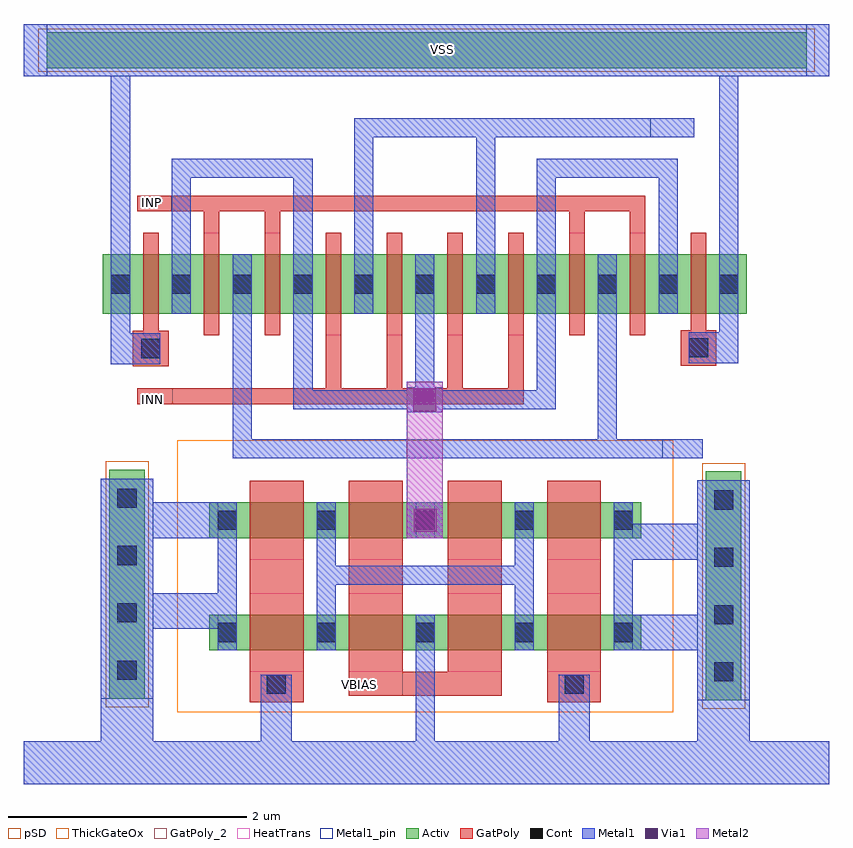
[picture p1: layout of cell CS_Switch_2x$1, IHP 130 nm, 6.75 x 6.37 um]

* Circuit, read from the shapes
.subckt CS_Switch_2x$1 INN INP VBIAS VSS
XM1 n1 VSS VSS VSUBS sg13_lv_nmos w=0.5u l=0.13u m=2
XM2 n2 INP n1 VSUBS sg13_lv_nmos w=0.5u l=0.13u m=4
XM3 n3 VSUBS VSUBS VSUBS sg13_hv_nmos w=0.3u l=0.45u m=4
XM4 n4 INN n1 VSUBS sg13_lv_nmos w=0.5u l=0.13u m=4
XM5 VSUBS VBIAS n3 VSUBS sg13_hv_nmos w=0.3u l=0.45u m=2
XM6 n1 VBIAS n3 VSUBS sg13_hv_nmos w=0.3u l=0.45u m=2
.ends

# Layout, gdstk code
import gdstk
lib = gdstk.Library(unit=1e-6, precision=1e-09)
def R(c, l, rs):  # rectangles x0, y0, x1, y1
    for r in rs: c.add(gdstk.rectangle(r[:2], r[2:], *l))
def A(c, l, x, y, w, h, nx, ny, dx, dy):  # array of equal rectangles
    R(c, l, [(x+i*dx, y+j*dy, x+i*dx+w, y+j*dy+h) for i in range(nx) for j in range(ny)])
def P(c, l, *ps):  # polygons
    for p in ps: c.add(gdstk.Polygon(p, *l))
Activ = (1, 0)
GatPoly = (5, 0)
GatPoly_2 = (5, 2)
Cont = (6, 0)
Metal1 = (8, 0)
Metal1_pin = (8, 2)
Metal2 = (10, 0)
pSD = (14, 0)
Via1 = (19, 0)
ThickGateOx = (44, 0)
HeatTrans = (51, 0)

nmoshv_1_3_1 = lib.new_cell('nmosHV$1$3$1')
A(nmoshv_1_3_1, Activ, 0, 0, 0.3, 0.3, 3, 1, 0.83, 0)
R(nmoshv_1_3_1, Activ, [(0,0,1.96,0.3)])
R(nmoshv_1_3_1, GatPoly, [(0.34,-0.18,0.79,0.48), (1.17,-0.18,1.62,0.48)])
R(nmoshv_1_3_1, GatPoly_2, [(0.34,-0.18,0.79,0.48)])
A(nmoshv_1_3_1, Cont, 0.07, 0.07, 0.16, 0.16, 3, 1, 0.83, 0)
A(nmoshv_1_3_1, Metal1, 0.07, 0, 0.16, 0.3, 3, 1, 0.83, 0)
R(nmoshv_1_3_1, Metal1_pin, [(0.07,0,0.23,0.3), (0.9,0,1.06,0.3)])
R(nmoshv_1_3_1, ThickGateOx, [(-0.27,-0.52,2.23,0.82)])
R(nmoshv_1_3_1, HeatTrans, [(0.34,-0.18,0.79,0.48), (1.17,-0.18,1.62,0.48)])
nmoshv_1_3_1.add(gdstk.Label('nmosHV', (0.565,0.15), layer=63, texttype=0))
nmoshv_1_3_1.add(gdstk.Label('nmosHV', (0.565,0.15), layer=51, texttype=0))
nmoshv_1_3_1.add(gdstk.Label('nmosHV', (1.395,0.15), layer=51, texttype=0))

via_stack_24 = lib.new_cell('via_stack$24')
R(via_stack_24, Metal1, [(-0.145,-0.105,0.145,0.105)])
R(via_stack_24, Metal2, [(-0.145,-0.1,0.145,0.1)])
R(via_stack_24, Via1, [(-0.095,-0.095,0.095,0.095)])

nmos_6_1 = lib.new_cell('nmos$6$1')
A(nmos_6_1, Activ, 0, 0, 0.3, 0.3, 3, 1, 0.51, 0)
R(nmos_6_1, Activ, [(0,0,1.32,0.5)])
R(nmos_6_1, GatPoly, [(0.34,-0.18,0.47,0.68), (0.85,-0.18,0.98,0.68)])
R(nmos_6_1, GatPoly_2, [(0.34,-0.18,0.47,0.68)])
A(nmos_6_1, Cont, 0.07, 0.17, 0.16, 0.16, 3, 1, 0.51, 0)
A(nmos_6_1, Metal1, 0.07, 0, 0.16, 0.5, 3, 1, 0.51, 0)
R(nmos_6_1, Metal1_pin, [(0.07,0,0.23,0.5), (0.58,0,0.74,0.5)])
R(nmos_6_1, HeatTrans, [(0.34,-0.18,0.47,0.68), (0.85,-0.18,0.98,0.68)])
nmos_6_1.add(gdstk.Label('nmos', (0.405,0.25), layer=63, texttype=0))
nmos_6_1.add(gdstk.Label('nmos', (0.405,0.25), layer=51, texttype=0))
nmos_6_1.add(gdstk.Label('nmos', (0.915,0.25), layer=51, texttype=0))

nmoshv_2_2 = lib.new_cell('nmosHV$2$2')
R(nmoshv_2_2, Activ, [(0,0,0.3,0.3), (0,0,1.13,0.3), (0.83,0,1.13,0.3)])
R(nmoshv_2_2, GatPoly, [(0.34,-0.18,0.79,0.48)])
R(nmoshv_2_2, GatPoly_2, [(0.34,-0.18,0.79,0.48)])
R(nmoshv_2_2, Cont, [(0.07,0.07,0.23,0.23), (0.9,0.07,1.06,0.23)])
R(nmoshv_2_2, Metal1, [(0.07,0,0.23,0.3), (0.9,0,1.06,0.3)])
R(nmoshv_2_2, Metal1_pin, [(0.07,0,0.23,0.3), (0.9,0,1.06,0.3)])
R(nmoshv_2_2, ThickGateOx, [(-0.27,-0.52,1.4,0.82)])
R(nmoshv_2_2, HeatTrans, [(0.34,-0.18,0.79,0.48)])
nmoshv_2_2.add(gdstk.Label('nmosHV', (0.565,0.15), layer=63, texttype=0))
nmoshv_2_2.add(gdstk.Label('nmosHV', (0.565,0.15), layer=51, texttype=0))

nmos_1_4 = lib.new_cell('nmos$1$4')
R(nmos_1_4, Activ, [(0,0,0.3,0.3), (0,0,0.81,0.5), (0.51,0,0.81,0.3)])
R(nmos_1_4, GatPoly, [(0.34,-0.18,0.47,0.68)])
R(nmos_1_4, GatPoly_2, [(0.34,-0.18,0.47,0.68)])
R(nmos_1_4, Cont, [(0.07,0.17,0.23,0.33), (0.58,0.17,0.74,0.33)])
R(nmos_1_4, Metal1, [(0.07,0,0.23,0.5), (0.58,0,0.74,0.5)])
R(nmos_1_4, Metal1_pin, [(0.07,0,0.23,0.5), (0.58,0,0.74,0.5)])
R(nmos_1_4, HeatTrans, [(0.34,-0.18,0.47,0.68)])
nmos_1_4.add(gdstk.Label('nmos', (0.405,0.25), layer=63, texttype=0))
nmos_1_4.add(gdstk.Label('nmos', (0.405,0.25), layer=51, texttype=0))

cs_switch_2x_1 = lib.new_cell('CS_Switch_2x$1')
R(cs_switch_2x_1, Activ, [(2.34,-2.485,2.64,-0.565), (-2.66,-2.47,-2.36,-0.55), (-3.185,2.815,3.185,3.115)])
A(cs_switch_2x_1, GatPoly, -0.845, 0.13, 0.13, 0.445, 4, 1, 0.51, 0)
R(cs_switch_2x_1, GatPoly, [(-1.48,-2.5,-1.03,-0.645), (1.01,-2.5,1.46,-0.645), (-0.65,-2.445,0.63,-2.245), (-0.65,-1.585,-0.2,-1.305), (0.18,-1.585,0.63,-1.305), (-2.425,0,0.815,0.13), (-2.46,0.315,-2.16,0.615), (2.13,0.32,2.43,0.62), (-1.865,1.435,-1.735,1.745), (-1.355,1.435,-1.225,1.745), (1.195,1.435,1.325,1.745), (1.705,1.435,1.835,1.745), (-2.425,1.615,1.195,1.745), (1.195,1.615,1.835,1.745)])
R(cs_switch_2x_1, GatPoly_2, [(-0.65,-2.445,-0.2,-2.245), (-2.425,0,-2.125,0.13), (-2.425,1.615,-2.135,1.745)])
R(cs_switch_2x_1, Cont, [(-1.34,-2.43,-1.18,-2.27), (1.16,-2.43,1.32,-2.27), (2.41,-2.325,2.57,-2.165), (2.41,-2.325,2.57,-2.165), (-2.59,-2.31,-2.43,-2.15), (-2.59,-2.31,-2.43,-2.15), (2.41,-1.845,2.57,-1.685), (2.41,-1.845,2.57,-1.685), (-2.59,-1.83,-2.43,-1.67), (-2.59,-1.83,-2.43,-1.67), (2.41,-1.365,2.57,-1.205), (2.41,-1.365,2.57,-1.205), (-2.59,-1.35,-2.43,-1.19), (-2.59,-1.35,-2.43,-1.19), (2.41,-0.885,2.57,-0.725), (2.41,-0.885,2.57,-0.725), (-2.59,-0.87,-2.43,-0.71), (-2.59,-0.87,-2.43,-0.71), (-2.39,0.385,-2.23,0.545), (2.2,0.39,2.36,0.55)])
A(cs_switch_2x_1, Metal1, -1.115, 0.115, 0.16, 0.64, 3, 1, 1.02, 0)
R(cs_switch_2x_1, Metal1, [(-0.92,-2.065,-0.76,-1.125), (0.74,-2.065,0.9,-1.125), (1.57,-2.065,1.73,-1.005), (1.57,-2.065,2.47,-1.765), (1.57,-1.965,1.73,-1.005), (-2.49,-1.885,-1.59,-1.585), (-1.75,-1.885,-1.59,-0.825), (-0.92,-1.515,0.9,-1.355), (1.57,-1.305,2.47,-1.005), (-2.49,-1.125,-1.59,-0.825), (-0.165,-1.125,0.135,-0.825), (-1.625,-0.455,2.315,-0.295), (-1.625,-0.295,-1.465,0.755), (1.435,-0.295,1.595,0.755), (-1.115,-0.045,1.085,0.115), (-2.645,0.335,-2.23,0.595), (2.2,0.34,2.615,0.6), (-2.645,0.405,-2.485,0.755), (2.455,0.405,2.615,0.755), (-2.645,1.255,-2.485,3.185), (-2.135,1.255,-1.975,1.895), (-1.115,1.255,-0.955,1.895), (-0.605,1.255,-0.445,2.235), (0.415,1.255,0.575,2.235), (0.925,1.255,1.085,1.895), (1.945,1.255,2.105,1.895), (2.455,1.255,2.615,3.185), (-2.135,1.895,-0.955,2.055), (0.925,1.895,2.105,2.055), (-0.605,2.235,2.245,2.395), (-3.375,2.745,3.375,3.185)])
P(cs_switch_2x_1, Metal1, [(-3.375,-3.185),(-3.375,-2.825),(-2.73,-2.825),(-2.73,-0.625),(-2.29,-0.625),(-2.29,-2.825),(-1.39,-2.825),(-1.39,-2.27),(-1.13,-2.27),(-1.13,-2.825),(-0.09,-2.825),(-0.09,-1.765),(0.07,-1.765),(0.07,-2.825),(1.11,-2.825),(1.11,-2.27),(1.37,-2.27),(1.37,-2.825),(2.27,-2.825),(2.27,-0.64),(2.71,-0.64),(2.71,-2.825),(3.375,-2.825),(3.375,-3.185)])
R(cs_switch_2x_1, Metal1_pin, [(2.27,-2.485,2.71,-0.64), (-2.73,-2.47,-2.29,-0.625), (1.975,-0.455,2.315,-0.295), (1.875,2.235,2.245,2.395), (-3.185,2.745,3.185,3.185)])
R(cs_switch_2x_1, Metal2, [(-0.165,-1.125,0.135,0.185)])
R(cs_switch_2x_1, pSD, [(2.31,-2.555,2.67,-0.495), (-2.69,-2.54,-2.33,-0.48), (-3.255,2.785,3.255,3.145)])
R(cs_switch_2x_1, Via1, [(-0.105,-1.07,0.085,-0.88)])
cs_switch_2x_1.add(gdstk.Reference(nmoshv_1_3_1, (-0.99,-1.125)))
cs_switch_2x_1.add(gdstk.Reference(via_stack_24, (-0.015,0.035)))
cs_switch_2x_1.add(gdstk.Reference(nmoshv_1_3_1, (-0.99,-2.065)))
cs_switch_2x_1.add(gdstk.Reference(nmos_6_1, (-0.165,1.255), x_reflection=True))
cs_switch_2x_1.add(gdstk.Reference(nmos_6_1, (-1.185,1.255), x_reflection=True))
cs_switch_2x_1.add(gdstk.Reference(nmos_6_1, (0.855,1.255), x_reflection=True))
cs_switch_2x_1.add(gdstk.Reference(nmos_6_1, (-2.205,1.255), x_reflection=True))
cs_switch_2x_1.add(gdstk.Reference(nmoshv_2_2, (0.67,-2.065)))
cs_switch_2x_1.add(gdstk.Reference(nmoshv_2_2, (-1.82,-1.125)))
cs_switch_2x_1.add(gdstk.Reference(nmoshv_2_2, (-1.82,-2.065)))
cs_switch_2x_1.add(gdstk.Reference(nmoshv_2_2, (0.67,-1.125)))
cs_switch_2x_1.add(gdstk.Reference(nmos_1_4, (-2.715,0.755)))
cs_switch_2x_1.add(gdstk.Reference(nmos_1_4, (1.875,0.755)))
cs_switch_2x_1.add(gdstk.Label('INP', (-2.305,1.685), layer=5, texttype=1))
cs_switch_2x_1.add(gdstk.Label('INN', (-2.295,0.04), layer=5, texttype=1))
cs_switch_2x_1.add(gdstk.Label('VBIAS', (-0.565,-2.35), layer=5, texttype=1))
cs_switch_2x_1.add(gdstk.Label('VSS', (0.135,2.975), layer=8, texttype=25))

lib.write_gds('CS_Switch_2x_1.gds')
